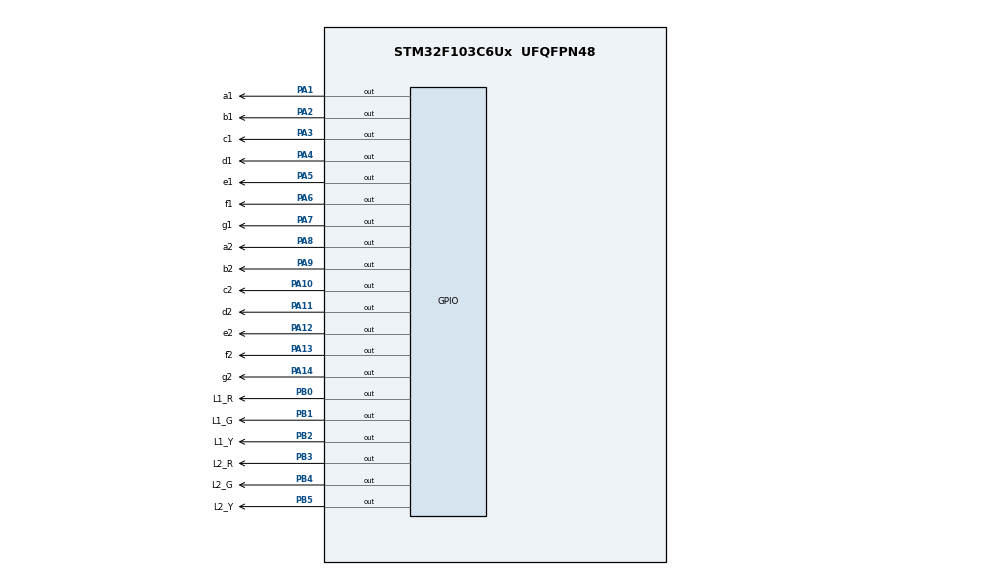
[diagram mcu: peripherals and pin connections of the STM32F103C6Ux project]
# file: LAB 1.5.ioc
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Mcu.Family=STM32F1
Mcu.Name=STM32F103C6Ux
Mcu.Package=UFQFPN48
NVIC.PriorityGroup=NVIC_PRIORITYGROUP_4
PA1.GPIO_Label=a1
PA1.Signal=GPIO_Output
PA10.GPIO_Label=c2
PA10.Signal=GPIO_Output
PA11.GPIO_Label=d2
PA11.Signal=GPIO_Output
PA12.GPIO_Label=e2
PA12.Signal=GPIO_Output
PA13.GPIO_Label=f2
PA13.Signal=GPIO_Output
PA14.GPIO_Label=g2
PA14.Signal=GPIO_Output
PA2.GPIO_Label=b1
PA2.Signal=GPIO_Output
PA3.GPIO_Label=c1
PA3.Signal=GPIO_Output
PA4.GPIO_Label=d1
PA4.Signal=GPIO_Output
PA5.GPIO_Label=e1
PA5.Signal=GPIO_Output
PA6.GPIO_Label=f1
PA6.Signal=GPIO_Output
PA7.GPIO_Label=g1
PA7.Signal=GPIO_Output
PA8.GPIO_Label=a2
PA8.Signal=GPIO_Output
PA9.GPIO_Label=b2
PA9.Signal=GPIO_Output
PB0.GPIO_Label=L1_R
PB0.Signal=GPIO_Output
PB1.GPIO_Label=L1_G
PB1.Signal=GPIO_Output
PB2.GPIO_Label=L1_Y
PB2.Signal=GPIO_Output
PB3.GPIO_Label=L2_R
PB3.Signal=GPIO_Output
PB4.GPIO_Label=L2_G
PB4.Signal=GPIO_Output
PB5.GPIO_Label=L2_Y
PB5.Signal=GPIO_Output
ProjectManager.HeapSize=0x200
ProjectManager.StackSize=0x400
ProjectManager.TargetToolchain=STM32CubeIDE
RCC.APB1Freq_Value=8000000
RCC.APB2Freq_Value=8000000
VP_SYS_VS_ND.Mode=No_Debug
board=custom

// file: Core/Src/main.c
/* USER CODE BEGIN Header */
/**
  ******************************************************************************
  * @file           : main.c
  * @brief          : Main program body
  ******************************************************************************
  * @attention
  *
  * <h2><center>&copy; Copyright (c) 2025 STMicroelectronics.
  * All rights reserved.</center></h2>
  *
  * This software component is licensed by ST under BSD 3-Clause license,
  * the "License"; You may not use this file except in compliance with the
  * License. You may obtain a copy of the License at:
  *                        opensource.org/licenses/BSD-3-Clause
  *
  ******************************************************************************
  */
/* USER CODE END Header */
void display7SEG_L1(int num);
void display7SEG_L2(int num);
#include "main.h"

void SystemClock_Config(void);
static void MX_GPIO_Init(void);

int main(void)
{

  /* MCU Configuration--------------------------------------------------------*/

  /* Reset of all peripherals, Initializes the Flash interface and the Systick. */
  HAL_Init();

  /* Configure the system clock */
  SystemClock_Config();

  /* Initialize all configured peripherals */
  MX_GPIO_Init();

  /* Infinite loop */
  HAL_GPIO_WritePin(L1_R_GPIO_Port, L1_R_Pin, GPIO_PIN_RESET);
  HAL_GPIO_WritePin(L1_R_GPIO_Port, L1_G_Pin, GPIO_PIN_SET);
  HAL_GPIO_WritePin(L1_R_GPIO_Port, L1_Y_Pin, GPIO_PIN_SET);

  HAL_GPIO_WritePin(L2_R_GPIO_Port, L2_R_Pin, GPIO_PIN_SET);
  HAL_GPIO_WritePin(L2_R_GPIO_Port, L2_Y_Pin, GPIO_PIN_SET);
  HAL_GPIO_WritePin(L2_R_GPIO_Port, L2_G_Pin, GPIO_PIN_RESET);
//  int count1 = 0;
//  int count2 = 0;
  int seconds = 0;
  /* USER CODE BEGIN WHILE */
  while (1)
  {
      int t = seconds % 10;

      if (t <= 4) {
              HAL_GPIO_WritePin(L1_R_GPIO_Port, L1_R_Pin, GPIO_PIN_RESET);
              HAL_GPIO_WritePin(L1_R_GPIO_Port, L1_G_Pin, GPIO_PIN_SET);
              HAL_GPIO_WritePin(L1_R_GPIO_Port, L1_Y_Pin, GPIO_PIN_SET);
              display7SEG_L1(5 - t);
          } else if (t <= 7) {
              HAL_GPIO_WritePin(L1_R_GPIO_Port, L1_R_Pin, GPIO_PIN_SET);
              HAL_GPIO_WritePin(L1_R_GPIO_Port, L1_G_Pin, GPIO_PIN_RESET);
              HAL_GPIO_WritePin(L1_R_GPIO_Port, L1_Y_Pin, GPIO_PIN_SET);
              display7SEG_L1(8 - t);
          } else {
              HAL_GPIO_WritePin(L1_R_GPIO_Port, L1_R_Pin, GPIO_PIN_SET);
              HAL_GPIO_WritePin(L1_R_GPIO_Port, L1_G_Pin, GPIO_PIN_SET);
              HAL_GPIO_WritePin(L1_R_GPIO_Port, L1_Y_Pin, GPIO_PIN_RESET);
              display7SEG_L1(10 - t);
          }

          if (t <= 2) {
              HAL_GPIO_WritePin(L2_R_GPIO_Port, L2_R_Pin, GPIO_PIN_SET);
              HAL_GPIO_WritePin(L2_R_GPIO_Port, L2_Y_Pin, GPIO_PIN_SET);
              HAL_GPIO_WritePin(L2_R_GPIO_Port, L2_G_Pin, GPIO_PIN_RESET);
              display7SEG_L2(3 - t);
          } else if (t <= 4) {
              HAL_GPIO_WritePin(L2_R_GPIO_Port, L2_R_Pin, GPIO_PIN_SET);
              HAL_GPIO_WritePin(L2_R_GPIO_Port, L2_Y_Pin, GPIO_PIN_RESET);
              HAL_GPIO_WritePin(L2_R_GPIO_Port, L2_G_Pin, GPIO_PIN_SET);
              display7SEG_L2(5 - t);
          } else {
              HAL_GPIO_WritePin(L2_R_GPIO_Port, L2_R_Pin, GPIO_PIN_RESET);
              HAL_GPIO_WritePin(L2_R_GPIO_Port, L2_Y_Pin, GPIO_PIN_SET);
              HAL_GPIO_WritePin(L2_R_GPIO_Port, L2_G_Pin, GPIO_PIN_SET);
              display7SEG_L2(10 - t);
          }

      seconds++;
      HAL_Delay(1000);
    /* USER CODE END WHILE */

  }
}

void display7SEG_L1(int num){
	if(num==0){
			   HAL_GPIO_WritePin(a1_GPIO_Port, a1_Pin, 0);
			   HAL_GPIO_WritePin(a1_GPIO_Port, b1_Pin, 0);
			   HAL_GPIO_WritePin(a1_GPIO_Port, c1_Pin, 0);
			   HAL_GPIO_WritePin(a1_GPIO_Port, d1_Pin, 0);
			   HAL_GPIO_WritePin(a1_GPIO_Port, e1_Pin, 0);
			   HAL_GPIO_WritePin(a1_GPIO_Port, f1_Pin, 0);
			   HAL_GPIO_WritePin(a1_GPIO_Port, g1_Pin, 1);
		 }
		 if (num==1){
		 		HAL_GPIO_WritePin(a1_GPIO_Port, a1_Pin, 1);
		 		HAL_GPIO_WritePin(a1_GPIO_Port, b1_Pin, 0);
		 		HAL_GPIO_WritePin(a1_GPIO_Port, c1_Pin, 0);
		 		HAL_GPIO_WritePin(a1_GPIO_Port, d1_Pin, 1);
		 		HAL_GPIO_WritePin(a1_GPIO_Port, e1_Pin, 1);
		 		HAL_GPIO_WritePin(a1_GPIO_Port, f1_Pin, 1);
		 		HAL_GPIO_WritePin(a1_GPIO_Port, g1_Pin, 1);
		 	}
		 	else if (num==2){
		 		HAL_GPIO_WritePin(a1_GPIO_Port, a1_Pin, 0);
		 		HAL_GPIO_WritePin(a1_GPIO_Port, b1_Pin, 0);
		 		HAL_GPIO_WritePin(a1_GPIO_Port, c1_Pin, 1);
		 		HAL_GPIO_WritePin(a1_GPIO_Port, d1_Pin, 0);
		 		HAL_GPIO_WritePin(a1_GPIO_Port, e1_Pin, 0);
		 		HAL_GPIO_WritePin(a1_GPIO_Port, f1_Pin, 1);
		 		HAL_GPIO_WritePin(a1_GPIO_Port, g1_Pin, 0);
		 	}
		 	else if (num==3){
		 		HAL_GPIO_WritePin(a1_GPIO_Port, a1_Pin, 0);
		 		HAL_GPIO_WritePin(a1_GPIO_Port, b1_Pin, 0);
		 		HAL_GPIO_WritePin(a1_GPIO_Port, c1_Pin, 0);
		 		HAL_GPIO_WritePin(a1_GPIO_Port, d1_Pin, 0);
		 		HAL_GPIO_WritePin(a1_GPIO_Port, e1_Pin, 1);
		 		HAL_GPIO_WritePin(a1_GPIO_Port, f1_Pin, 1);
		 		HAL_GPIO_WritePin(a1_GPIO_Port, g1_Pin, 0);

		 	}
		 	else if (num==4){
		 		HAL_GPIO_WritePin(a1_GPIO_Port, a1_Pin, 1);
		 		HAL_GPIO_WritePin(a1_GPIO_Port, b1_Pin, 0);
		 		HAL_GPIO_WritePin(a1_GPIO_Port, c1_Pin, 0);
		 		HAL_GPIO_WritePin(a1_GPIO_Port, d1_Pin, 1);
		 		HAL_GPIO_WritePin(a1_GPIO_Port, e1_Pin, 1);
		 		HAL_GPIO_WritePin(a1_GPIO_Port, f1_Pin, 0);
		 		HAL_GPIO_WritePin(a1_GPIO_Port, g1_Pin, 0);
		 	}
		 	else if (num==5){
		 		HAL_GPIO_WritePin(a1_GPIO_Port, a1_Pin, 0);
		 		HAL_GPIO_WritePin(a1_GPIO_Port, b1_Pin, 1);
		 		HAL_GPIO_WritePin(a1_GPIO_Port, c1_Pin, 0);
		 		HAL_GPIO_WritePin(a1_GPIO_Port, d1_Pin, 0);
		 		HAL_GPIO_WritePin(a1_GPIO_Port, e1_Pin, 1);
		 		HAL_GPIO_WritePin(a1_GPIO_Port, f1_Pin, 0);
		 		HAL_GPIO_WritePin(a1_GPIO_Port, g1_Pin, 0);
		 	}
		 	else if (num==6){
		 		HAL_GPIO_WritePin(a1_GPIO_Port, a1_Pin, 0);
		 		HAL_GPIO_WritePin(a1_GPIO_Port, b1_Pin, 1);
		 		HAL_GPIO_WritePin(a1_GPIO_Port, c1_Pin, 0);
		 		HAL_GPIO_WritePin(a1_GPIO_Port, d1_Pin, 0);
		 		HAL_GPIO_WritePin(a1_GPIO_Port, e1_Pin, 0);
		 		HAL_GPIO_WritePin(a1_GPIO_Port, f1_Pin, 0);
		 		HAL_GPIO_WritePin(a1_GPIO_Port, g1_Pin, 0);
		 	}
		 	else if (num==7){
		 		HAL_GPIO_WritePin(a1_GPIO_Port, a1_Pin, 0);
		 		HAL_GPIO_WritePin(a1_GPIO_Port, b1_Pin, 0);
		 		HAL_GPIO_WritePin(a1_GPIO_Port, c1_Pin, 0);
		 		HAL_GPIO_WritePin(a1_GPIO_Port, d1_Pin, 1);
		 		HAL_GPIO_WritePin(a1_GPIO_Port, e1_Pin, 1);
		 		HAL_GPIO_WritePin(a1_GPIO_Port, f1_Pin, 1);
		 		HAL_GPIO_WritePin(a1_GPIO_Port, g1_Pin, 1);
		 	}
		 	else if (num==8){
		 		HAL_GPIO_WritePin(a1_GPIO_Port, a1_Pin, 0);
		 		HAL_GPIO_WritePin(a1_GPIO_Port, b1_Pin, 0);
		 		HAL_GPIO_WritePin(a1_GPIO_Port, c1_Pin, 0);
		 		HAL_GPIO_WritePin(a1_GPIO_Port, d1_Pin, 0);
		 		HAL_GPIO_WritePin(a1_GPIO_Port, e1_Pin, 0);
		 		HAL_GPIO_WritePin(a1_GPIO_Port, f1_Pin, 0);
		 		HAL_GPIO_WritePin(a1_GPIO_Port, g1_Pin, 0);
		 	}
		 	else if (num==9){
		 		HAL_GPIO_WritePin(a1_GPIO_Port, a1_Pin, 0);
		 		HAL_GPIO_WritePin(a1_GPIO_Port, b1_Pin, 0);
		 		HAL_GPIO_WritePin(a1_GPIO_Port, c1_Pin, 0);
		 		HAL_GPIO_WritePin(a1_GPIO_Port, d1_Pin, 0);
		 		HAL_GPIO_WritePin(a1_GPIO_Port, e1_Pin, 1);
		 		HAL_GPIO_WritePin(a1_GPIO_Port, f1_Pin, 0);
		 		HAL_GPIO_WritePin(a1_GPIO_Port, g1_Pin, 0);
		 	}
}
void display7SEG_L2(int num){
	if(num==0){
			   HAL_GPIO_WritePin(a2_GPIO_Port, a2_Pin, 0);
			   HAL_GPIO_WritePin(a2_GPIO_Port, b2_Pin, 0);
			   HAL_GPIO_WritePin(a2_GPIO_Port, c2_Pin, 0);
			   HAL_GPIO_WritePin(a2_GPIO_Port, d2_Pin, 0);
			   HAL_GPIO_WritePin(a2_GPIO_Port, e2_Pin, 0);
			   HAL_GPIO_WritePin(a2_GPIO_Port, f2_Pin, 0);
			   HAL_GPIO_WritePin(a2_GPIO_Port, g2_Pin, 1);
		 }
		 if (num==1){
		 		HAL_GPIO_WritePin(a2_GPIO_Port, a2_Pin, 1);
		 		HAL_GPIO_WritePin(a2_GPIO_Port, b2_Pin, 0);
		 		HAL_GPIO_WritePin(a2_GPIO_Port, c2_Pin, 0);
		 		HAL_GPIO_WritePin(a2_GPIO_Port, d2_Pin, 1);
		 		HAL_GPIO_WritePin(a2_GPIO_Port, e2_Pin, 1);
		 		HAL_GPIO_WritePin(a2_GPIO_Port, f2_Pin, 1);
		 		HAL_GPIO_WritePin(a2_GPIO_Port, g2_Pin, 1);
		 	}
		 	else if (num==2){
		 		HAL_GPIO_WritePin(a2_GPIO_Port, a2_Pin, 0);
		 		HAL_GPIO_WritePin(a2_GPIO_Port, b2_Pin, 0);
		 		HAL_GPIO_WritePin(a2_GPIO_Port, c2_Pin, 1);
		 		HAL_GPIO_WritePin(a2_GPIO_Port, d2_Pin, 0);
		 		HAL_GPIO_WritePin(a2_GPIO_Port, e2_Pin, 0);
		 		HAL_GPIO_WritePin(a2_GPIO_Port, f2_Pin, 1);
		 		HAL_GPIO_WritePin(a2_GPIO_Port, g2_Pin, 0);
		 	}
		 	else if (num==3){
		 		HAL_GPIO_WritePin(a2_GPIO_Port, a2_Pin, 0);
		 		HAL_GPIO_WritePin(a2_GPIO_Port, b2_Pin, 0);
		 		HAL_GPIO_WritePin(a2_GPIO_Port, c2_Pin, 0);
		 		HAL_GPIO_WritePin(a2_GPIO_Port, d2_Pin, 0);
		 		HAL_GPIO_WritePin(a2_GPIO_Port, e2_Pin, 1);
		 		HAL_GPIO_WritePin(a2_GPIO_Port, f2_Pin, 1);
		 		HAL_GPIO_WritePin(a2_GPIO_Port, g2_Pin, 0);

		 	}
		 	else if (num==4){
		 		HAL_GPIO_WritePin(a2_GPIO_Port, a2_Pin, 1);
		 		HAL_GPIO_WritePin(a2_GPIO_Port, b2_Pin, 0);
		 		HAL_GPIO_WritePin(a2_GPIO_Port, c2_Pin, 0);
		 		HAL_GPIO_WritePin(a2_GPIO_Port, d2_Pin, 1);
		 		HAL_GPIO_WritePin(a2_GPIO_Port, e2_Pin, 1);
		 		HAL_GPIO_WritePin(a2_GPIO_Port, f2_Pin, 0);
		 		HAL_GPIO_WritePin(a2_GPIO_Port, g2_Pin, 0);
		 	}
		 	else if (num==5){
		 		HAL_GPIO_WritePin(a2_GPIO_Port, a2_Pin, 0);
		 		HAL_GPIO_WritePin(a2_GPIO_Port, b2_Pin, 1);
		 		HAL_GPIO_WritePin(a2_GPIO_Port, c2_Pin, 0);
		 		HAL_GPIO_WritePin(a2_GPIO_Port, d2_Pin, 0);
		 		HAL_GPIO_WritePin(a2_GPIO_Port, e2_Pin, 1);
		 		HAL_GPIO_WritePin(a2_GPIO_Port, f2_Pin, 0);
		 		HAL_GPIO_WritePin(a2_GPIO_Port, g2_Pin, 0);
		 	}
		 	else if (num==6){
		 		HAL_GPIO_WritePin(a2_GPIO_Port, a2_Pin, 0);
		 		HAL_GPIO_WritePin(a2_GPIO_Port, b2_Pin, 1);
		 		HAL_GPIO_WritePin(a2_GPIO_Port, c2_Pin, 0);
		 		HAL_GPIO_WritePin(a2_GPIO_Port, d2_Pin, 0);
		 		HAL_GPIO_WritePin(a2_GPIO_Port, e2_Pin, 0);
		 		HAL_GPIO_WritePin(a2_GPIO_Port, f2_Pin, 0);
		 		HAL_GPIO_WritePin(a2_GPIO_Port, g2_Pin, 0);
		 	}
		 	else if (num==7){
		 		HAL_GPIO_WritePin(a2_GPIO_Port, a2_Pin, 0);
		 		HAL_GPIO_WritePin(a2_GPIO_Port, b2_Pin, 0);
		 		HAL_GPIO_WritePin(a2_GPIO_Port, c2_Pin, 0);
		 		HAL_GPIO_WritePin(a2_GPIO_Port, d2_Pin, 1);
		 		HAL_GPIO_WritePin(a2_GPIO_Port, e2_Pin, 1);
		 		HAL_GPIO_WritePin(a2_GPIO_Port, f2_Pin, 1);
		 		HAL_GPIO_WritePin(a2_GPIO_Port, g2_Pin, 1);
		 	}
		 	else if (num==8){
		 		HAL_GPIO_WritePin(a2_GPIO_Port, a2_Pin, 0);
		 		HAL_GPIO_WritePin(a2_GPIO_Port, b2_Pin, 0);
		 		HAL_GPIO_WritePin(a2_GPIO_Port, c2_Pin, 0);
		 		HAL_GPIO_WritePin(a2_GPIO_Port, d2_Pin, 0);
		 		HAL_GPIO_WritePin(a2_GPIO_Port, e2_Pin, 0);
		 		HAL_GPIO_WritePin(a2_GPIO_Port, f2_Pin, 0);
		 		HAL_GPIO_WritePin(a2_GPIO_Port, g2_Pin, 0);
		 	}
		 	else if (num==9){
		 		HAL_GPIO_WritePin(a2_GPIO_Port, a2_Pin, 0);
		 		HAL_GPIO_WritePin(a2_GPIO_Port, b2_Pin, 0);
		 		HAL_GPIO_WritePin(a2_GPIO_Port, c2_Pin, 0);
		 		HAL_GPIO_WritePin(a2_GPIO_Port, d2_Pin, 0);
		 		HAL_GPIO_WritePin(a2_GPIO_Port, e2_Pin, 1);
		 		HAL_GPIO_WritePin(a2_GPIO_Port, f2_Pin, 0);
		 		HAL_GPIO_WritePin(a2_GPIO_Port, g2_Pin, 0);
		 	}
}
void SystemClock_Config(void)
{
  RCC_OscInitTypeDef RCC_OscInitStruct = {0};
  RCC_ClkInitTypeDef RCC_ClkInitStruct = {0};

  /** Initializes the RCC Oscillators according to the specified parameters
  * in the RCC_OscInitTypeDef structure.
  */
  RCC_OscInitStruct.OscillatorType = RCC_OSCILLATORTYPE_HSI;
  RCC_OscInitStruct.HSIState = RCC_HSI_ON;
  RCC_OscInitStruct.HSICalibrationValue = RCC_HSICALIBRATION_DEFAULT;
  RCC_OscInitStruct.PLL.PLLState = RCC_PLL_NONE;
  if (HAL_RCC_OscConfig(&RCC_OscInitStruct) != HAL_OK)
  {
    Error_Handler();
  }
  /** Initializes the CPU, AHB and APB buses clocks
  */
  RCC_ClkInitStruct.ClockType = RCC_CLOCKTYPE_HCLK|RCC_CLOCKTYPE_SYSCLK
                              |RCC_CLOCKTYPE_PCLK1|RCC_CLOCKTYPE_PCLK2;
  RCC_ClkInitStruct.SYSCLKSource = RCC_SYSCLKSOURCE_HSI;
  RCC_ClkInitStruct.AHBCLKDivider = RCC_SYSCLK_DIV1;
  RCC_ClkInitStruct.APB1CLKDivider = RCC_HCLK_DIV1;
  RCC_ClkInitStruct.APB2CLKDivider = RCC_HCLK_DIV1;

  if (HAL_RCC_ClockConfig(&RCC_ClkInitStruct, FLASH_LATENCY_0) != HAL_OK)
  {
    Error_Handler();
  }
}

static void MX_GPIO_Init(void)
{
  GPIO_InitTypeDef GPIO_InitStruct = {0};

  /* GPIO Ports Clock Enable */
  __HAL_RCC_GPIOA_CLK_ENABLE();
  __HAL_RCC_GPIOB_CLK_ENABLE();

  /*Configure GPIO pin Output Level */
  HAL_GPIO_WritePin(GPIOA, a1_Pin|b1_Pin|c1_Pin|d1_Pin
                          |e1_Pin|f1_Pin|g1_Pin|a2_Pin
                          |b2_Pin|c2_Pin|d2_Pin|e2_Pin
                          |f2_Pin|g2_Pin, GPIO_PIN_RESET);

  /*Configure GPIO pin Output Level */
  HAL_GPIO_WritePin(GPIOB, L1_R_Pin|L1_G_Pin|L1_Y_Pin|L2_R_Pin
                          |L2_G_Pin|L2_Y_Pin, GPIO_PIN_RESET);

  /*Configure GPIO pins : a1_Pin b1_Pin c1_Pin d1_Pin
                           e1_Pin f1_Pin g1_Pin a2_Pin
                           b2_Pin c2_Pin d2_Pin e2_Pin
                           f2_Pin g2_Pin */
  GPIO_InitStruct.Pin = a1_Pin|b1_Pin|c1_Pin|d1_Pin
                          |e1_Pin|f1_Pin|g1_Pin|a2_Pin
                          |b2_Pin|c2_Pin|d2_Pin|e2_Pin
                          |f2_Pin|g2_Pin;
  GPIO_InitStruct.Mode = GPIO_MODE_OUTPUT_PP;
  GPIO_InitStruct.Pull = GPIO_NOPULL;
  GPIO_InitStruct.Speed = GPIO_SPEED_FREQ_LOW;
  HAL_GPIO_Init(GPIOA, &GPIO_InitStruct);

  /*Configure GPIO pins : L1_R_Pin L1_G_Pin L1_Y_Pin L2_R_Pin
                           L2_G_Pin L2_Y_Pin */
  GPIO_InitStruct.Pin = L1_R_Pin|L1_G_Pin|L1_Y_Pin|L2_R_Pin
                          |L2_G_Pin|L2_Y_Pin;
  GPIO_InitStruct.Mode = GPIO_MODE_OUTPUT_PP;
  GPIO_InitStruct.Pull = GPIO_NOPULL;
  GPIO_InitStruct.Speed = GPIO_SPEED_FREQ_LOW;
  HAL_GPIO_Init(GPIOB, &GPIO_InitStruct);

}

void Error_Handler(void)
{
  __disable_irq();
  while (1)
  {
  }
}

/************************ (C) COPYRIGHT STMicroelectronics *****END OF FILE****/
